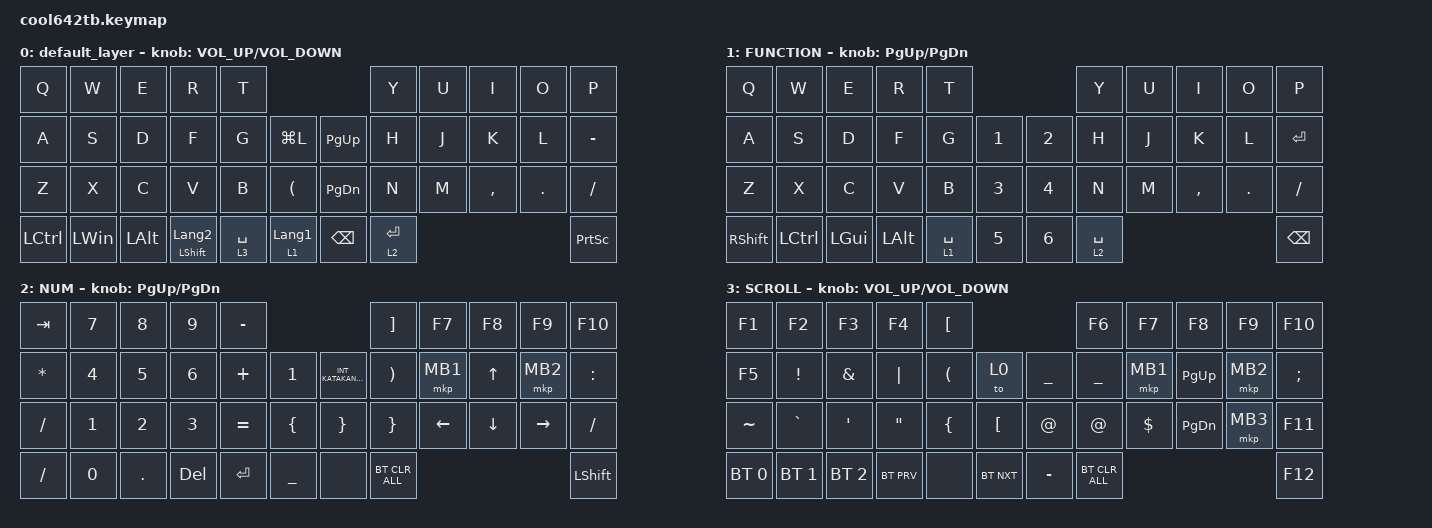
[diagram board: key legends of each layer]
#include <behaviors.dtsi>
#include <dt-bindings/zmk/bt.h>
#include <dt-bindings/zmk/keys.h>
#include <dt-bindings/zmk/pointing.h>

#define MOUSE 4
#define SCROLL 5
#define NUM 6
// OS設定を日本語キーボードのまま使用するための変換定義
#define JP_DQUOTE       AT                // "
#define JP_AMPERSAND    CARET             // &
#define JP_QUOTE        AMPERSAND         // '
#define JP_EQUAL        UNDER             // =
#define JP_CARET        EQUAL             // ^
#define JP_YEN          0x89              // ¥
#define JP_PLUS         COLON             // +
#define JP_TILDE        PLUS              // ~
#define JP_PIPE         LS(0x89)          // |
#define JP_AT           LEFT_BRACKET      // @
#define JP_COLON        SINGLE_QUOTE      // :
#define JP_ASTERISK     DOUBLE_QUOTES     // *
#define JP_BACKQUOTE    LEFT_BRACE        // `
#define JP_UNDERSCORE   LS(0x87)          // _
#define JP_LBRACKET     RIGHT_BRACKET     // [
#define JP_RBRACKET     BACKSLASH         // ]
#define JP_LPAREN       ASTERISK          // (
#define JP_RPAREN       LEFT_PARENTHESIS  // )
#define JP_LBRACE       RIGHT_BRACE       // {
#define JP_RBRACE       PIPE              // }
#define JP_KANA         LANGUAGE_1        // かな
#define JP_EISU         LANGUAGE_2        // 英数
#define JP_HANZEN       GRAVE             // 半角/全角

&mt {
    flavor = "balanced";
    quick-tap-ms = <0>;
};

/ {
    combos {
        compatible = "zmk,combos";

        comb1 {
            bindings = <&kp TAB>;
            key-positions = <11 10>;
        };

        comb2 {
            bindings = <&kp LS(ESCAPE)>;
            key-positions = <0 1>;
        };

        comb3 {
            bindings = <&kp CAPSLOCK>;
            key-positions = <22 23>;
        };

        comb4 {
            bindings = <&kp BACKSPACE>;
            key-positions = <9 8>;
        };

        comb5 {
            bindings = <&bt BT_CLR_ALL>;
            key-positions = <9 8>;
            timeout-ms = <0>;
            layers = <2>;
        };
    };

    macros {
        to_layer_0: to_layer_0 {
            compatible = "zmk,behavior-macro-one-param";
            #binding-cells = <1>;
            bindings = <&to 0 &macro_param_1to1 &kp MACRO_PLACEHOLDER>;
            label = "TO_LAYER_0";
        };
    };

    behaviors {
        lt_to_layer_0: lt_to_layer_0 {
            compatible = "zmk,behavior-hold-tap";
            label = "LAYER_TAP_TO_0";
            bindings = <&mo>, <&to_layer_0>;

            #binding-cells = <2>;
            tapping-term-ms = <200>;
        };
    };

    keymap {
        compatible = "zmk,keymap";

        default_layer {
            bindings = <
&kp Q      &kp W     &kp E         &kp R                        &kp T                                              &kp Y        &kp U  &kp I      &kp O       &kp P
&kp A      &kp S     &kp D         &kp F                        &kp G        &kp LG(L)              &kp PAGE_UP    &kp H        &kp J  &kp K      &kp L       &kp MINUS
&kp Z      &kp X     &kp C         &kp V                        &kp B        &kp LEFT_PARENTHESIS   &kp PAGE_DOWN  &kp N        &kp M  &kp COMMA  &kp PERIOD  &kp SLASH
&kp LCTRL  &kp LWIN  &kp LEFT_ALT  &mt LEFT_SHIFT JP_EISU       &lt 3 SPACE  &lt 1 JP_KANA          &kp BACKSPACE  &lt 2 ENTER                                &kp PRINTSCREEN
            >;

            sensor-bindings = <&inc_dec_kp C_VOLUME_UP C_VOLUME_DOWN>;
        };

        FUNCTION {
            bindings = <
&kp Q       &kp W      &kp E     &kp R     &kp T                        &kp Y        &kp U  &kp I      &kp O       &kp P
&kp A       &kp S      &kp D     &kp F     &kp G        &kp N1  &kp N2  &kp H        &kp J  &kp K      &kp L       &kp ENTER
&kp Z       &kp X      &kp C     &kp V     &kp B        &kp N3  &kp N4  &kp N        &kp M  &kp COMMA  &kp PERIOD  &kp SLASH
&kp RSHIFT  &kp LCTRL  &kp LGUI  &kp LALT  &lt 1 SPACE  &kp N5  &kp N6  &lt 2 SPACE                                &kp BSPC
            >;

            sensor-bindings = <&inc_dec_kp PG_UP PAGE_DOWN>;
        };

        NUM {
            bindings = <
&kp TAB       &kp NUMBER_7  &kp NUMBER_8  &kp NUMBER_9  &kp MINUS                                            &kp RIGHT_BRACKET      &kp F7          &kp F8          &kp F9           &kp F10
&kp ASTERISK  &kp NUMBER_4  &kp NUMBER_5  &kp NUMBER_6  &kp PLUS   &kp N1          &kp INT_KATAKANAHIRAGANA  &kp RIGHT_PARENTHESIS  &mkp MB1        &kp UP_ARROW    &mkp MB2         &kp COLON
&kp SLASH     &kp NUMBER_1  &kp NUMBER_2  &kp NUMBER_3  &kp EQUAL  &kp LEFT_BRACE  &kp RIGHT_BRACE           &kp RIGHT_BRACE        &kp LEFT_ARROW  &kp DOWN_ARROW  &kp RIGHT_ARROW  &kp SLASH
&kp SLASH     &kp NUMBER_0  &kp PERIOD    &kp DELETE    &kp ENTER  &kp UNDERSCORE  &none                     &bt BT_CLR_ALL                                                          &kp LEFT_SHIFT
            >;

            sensor-bindings = <&inc_dec_kp PG_UP PAGE_DOWN>;
        };

        SCROLL {
            bindings = <
&kp F1        &kp F2           &kp F3            &kp F4             &kp LEFT_BRACKET                                        &kp F6          &kp F7      &kp F8         &kp F9    &kp F10
&kp F5        &kp EXCLAMATION  &kp AMPERSAND     &kp PIPE           &kp LEFT_PARENTHESIS  &to 0             &kp UNDERSCORE  &kp UNDERSCORE  &mkp MB1    &kp PAGE_UP    &mkp MB2  &kp SEMICOLON
&kp TILDE     &kp GRAVE        &kp SINGLE_QUOTE  &kp DOUBLE_QUOTES  &kp LEFT_BRACE        &kp LEFT_BRACKET  &kp AT_SIGN     &kp AT_SIGN     &kp DOLLAR  &kp PAGE_DOWN  &mkp MB3  &kp F11
&bt BT_SEL 0  &bt BT_SEL 1     &bt BT_SEL 2      &bt BT_PRV         &none                 &bt BT_NXT        &kp MINUS       &bt BT_CLR_ALL                                       &kp F12
            >;

            sensor-bindings = <&inc_dec_kp C_VOLUME_UP C_VOLUME_DOWN>;
        };
    };
};
